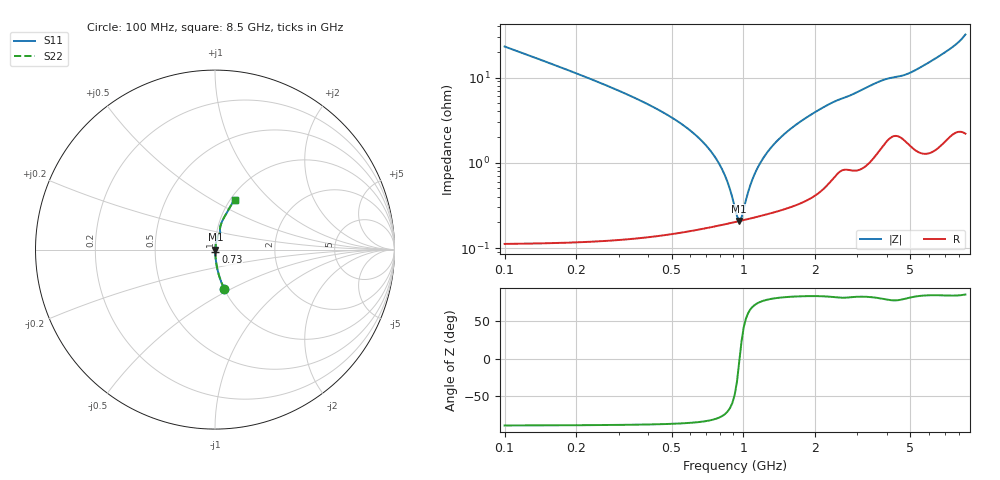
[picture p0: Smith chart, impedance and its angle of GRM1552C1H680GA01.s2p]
!Murata Part Number: GRM1552C1H680GA01
!These Parameters are Measured in Series Mode Connection
!Data Generated on Mar 30, 2021
!  o--ll--o
!Port1  Port2
!  o------o
!Operation Temp=25[degC], DC Bias Voltage=0[V]
!Freq. Start=100[MHz] Stop=9[GHz] 401[Steps]
# Hz S RI R 50
!Freq.(Hz) S11(Real) S11(Imag) S21(Real) S21(Imag) S12(Real) S12(Imag) S22(Real) S22(Imag)
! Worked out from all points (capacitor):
!   401 points, 100 MHz to 8.5 GHz, reference 50 ohm
!   read as one part in series: C = 68.1 pF near 142 MHz
!   lowest |Z| = 207 mohm at 961 MHz (marker M1)
!   series resonance near 963.8 MHz, so ESL is about 400 pH
!   S11 on the Smith chart (normalised r, x): 100 MHz: 1.00, -0.46; 730 MHz: 1.00, -0.03; 8.5 GHz: 1.04, +0.64
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1e8  0.0518 -0.2192  0.9482 0.2192  0.9482 0.2192  0.0518 -0.2192
2.68e8  0.00762 -0.0798  0.9924 0.0798  0.9924 0.0798  0.00762 -0.0798
6.04e8  0.00213 -0.0233  0.9979 0.0233  0.9979 0.0233  0.00213 -0.0233
7.3e8  0.00193 -0.0135  0.9981 0.0135  0.9981 0.0135  0.00193 -0.0135
8.14e8  0.00193 -0.00816  0.9981 0.00816  0.9981 0.00816  0.00193 -0.00816
8.56e8  0.00195 -0.00571  0.998 0.00571  0.998 0.00571  0.00195 -0.00571
9.19e8  0.00201 -0.00229  0.998 0.00229  0.998 0.00229  0.00201 -0.00229
9.61e8  0.00206 -0.000139  0.9979 0.000139  0.9979 0.000139  0.00206 -0.000139
1.003e9  0.00213 0.00192  0.9979 -0.00192  0.9979 -0.00192  0.00213 0.00192
1.066e9  0.00223 0.00485  0.9978 -0.00485  0.9978 -0.00485  0.00223 0.00485
1.108e9  0.00231 0.00672  0.9977 -0.00672  0.9977 -0.00672  0.00231 0.00672
1.192e9  0.00249 0.0103  0.9975 -0.0103  0.9975 -0.0103  0.00249 0.0103
1.318e9  0.00281 0.0153  0.9972 -0.0153  0.9972 -0.0153  0.00281 0.0153
1.507e9  0.00338 0.0223  0.9966 -0.0223  0.9966 -0.0223  0.00338 0.0223
1.78e9  0.00445 0.0316  0.9956 -0.0316  0.9956 -0.0316  0.00445 0.0316
2.116e9  0.00647 0.0426  0.9935 -0.0426  0.9935 -0.0426  0.00647 0.0426
2.914e9  0.0121 0.0632  0.9879 -0.0632  0.9879 -0.0632  0.0121 0.0632
3.67e9  0.0205 0.0849  0.9795 -0.0849  0.9795 -0.0849  0.0205 0.0849
4.3e9  0.0294 0.0941  0.9706 -0.0941  0.9706 -0.0941  0.0294 0.0941
5.707e9  0.0308 0.1329  0.9692 -0.1329  0.9692 -0.1329  0.0308 0.1329
7.114e9  0.0562 0.1891  0.9438 -0.1891  0.9438 -0.1891  0.0562 0.1891
8.5e9  0.1088 0.2789  0.8912 -0.2789  0.8912 -0.2789  0.1088 0.2789
